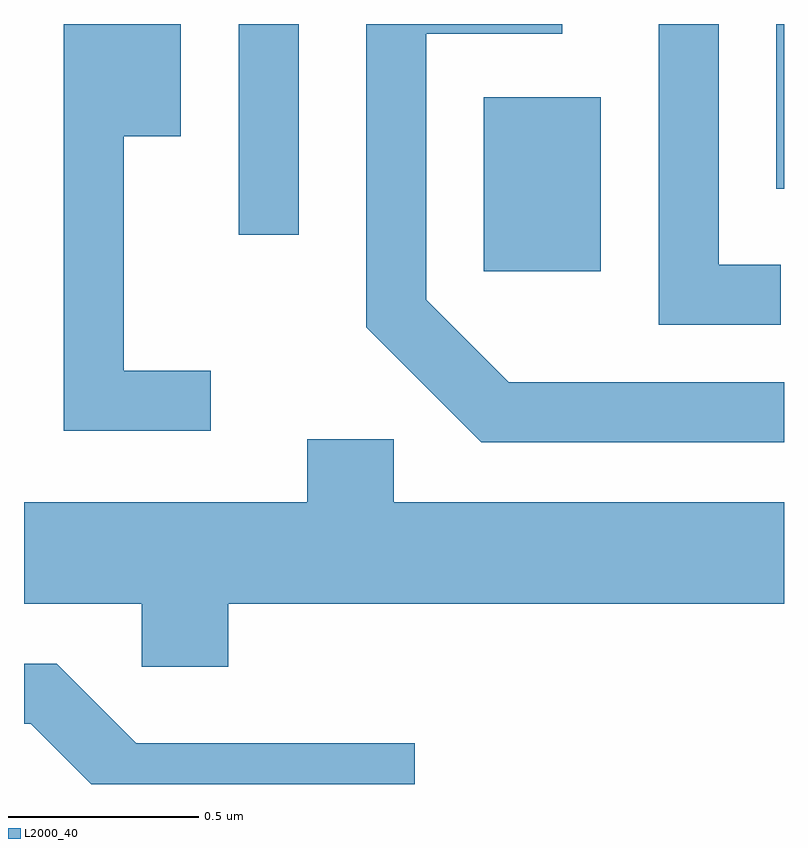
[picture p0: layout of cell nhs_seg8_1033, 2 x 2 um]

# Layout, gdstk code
import gdstk
lib = gdstk.Library(unit=1e-6, precision=1e-09)
def R(c, l, rs):  # rectangles x0, y0, x1, y1
    for r in rs: c.add(gdstk.rectangle(r[:2], r[2:], *l))
def P(c, l, *ps):  # polygons
    for p in ps: c.add(gdstk.Polygon(p, *l))
L2000_40 = (2000, 40)

nhs_seg8_1033 = lib.new_cell('nhs_seg8_1033')
R(nhs_seg8_1033, L2000_40, [(193.821,1881.691,194.129,1882.149), (193.176,1881.788,193.334,1882.342), (194.591,1881.908,194.611,1882.342)])
P(nhs_seg8_1033, L2000_40, [(194.611,1881.399),(193.887,1881.399),(193.669,1881.617),(193.669,1882.316),(194.028,1882.316),(194.028,1882.342),(193.511,1882.342),(193.511,1881.544),(193.814,1881.241),(194.611,1881.241)],
  [(194.603,1881.709),(194.439,1881.709),(194.439,1882.342),(194.281,1882.342),(194.281,1881.551),(194.603,1881.551)],
  [(193.103,1881.429),(192.874,1881.429),(192.874,1882.046),(193.024,1882.046),(193.024,1882.342),(192.716,1882.342),(192.716,1881.271),(193.103,1881.271)],
  [(193.149,1880.816),(194.611,1880.816),(194.611,1881.084),(193.584,1881.084),(193.584,1881.249),(193.356,1881.249),(193.356,1881.084),(192.611,1881.084),(192.611,1880.816),(192.921,1880.816),(192.921,1880.651),(193.149,1880.651)],
  [(193.639,1880.449),(192.907,1880.449),(192.697,1880.659),(192.611,1880.659),(192.611,1880.501),(192.629,1880.501),(192.788,1880.342),(193.639,1880.342)])

lib.write_gds('nhs_seg8_1033.gds')
